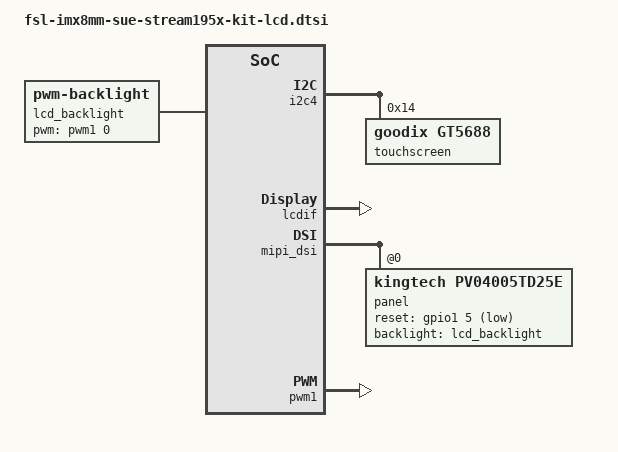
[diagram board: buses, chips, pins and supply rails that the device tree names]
/ {
	lcd_backlight: lcd_backlight {
		compatible = "pwm-backlight";
		pwms = <&pwm1 0 5000000 0>;

		/*
		 * Values taken from `imx7d-sue-streamkitprime-common-0.dtsi`.
		 */
		brightness-levels = <0 3 5 8 10 13 15 18 20 23 26 28 31 33 36 38 41 43 46 48 51 54 56 59 61 64 66 69 71 74
			77 79 82 84 87 89 92 94 97 99 102 105 107 110 112 115 117 120 122 125 127 130 133 135 138 140 143 145 148 150
			153 156 158 161 163 166 168 171 173 176 179 181 184 186 189 191 194 196 199 201 204 207 209 212 214 217 219 222 224 227
			229 232 235 237 240 242 245 247 250 252 255>;
		default-brightness-level = <100>;
		status = "okay";
	};
};

&i2c4 {
	touchscreen: gt5688@14 {
		compatible = "goodix,gt5688";
		reg = <0x14>;
		status = "okay";
	};
};

&iomuxc {
	imx8mm-s195x-kit-lcd {
		pinctrl_pwm1: pwm1grp {
			fsl,pins = <
				MX8MM_IOMUXC_GPIO1_IO01_PWM1_OUT		(PAD_CTL_PE_DOWN | PAD_CTL_HYS | PAD_CTL_FAST | PAD_CTL_DSE4x)
			>;
		};
	};
};

&lcdif {
	status = "okay";
	/*
	 * This is only used to override the first value which is the
	 * IMX8MM_CLK_LCDIF_PIXEL_SRC rate. It should match the MIPI
	 * clk because the MIPI clk should be a multiple (=bpp/mipi_lanes)
	 * of the pixel clock.
	 * The LCDIF will derive the pixelclock form this.
	 */
	assigned-clock-rate = <240000000>, <500000000>, <200000000>;
};

&mipi_dsi {
	status = "okay";
	/*
	 * This is the MIPI clk which is the (pixel_clock * bpp / mipi_lanes) / 10000.
	 * NOTE: To be able to set this rate, a table entry is required
	 * in the `imx8mm_videopll_tbl` array inside `clk-imx8mm.c`.
	 * To get all the apropriate values, the `Video-PLL-Calculation.ods`
	 * file from shared can be used.
	 */
	pref-rate = <24000>;

	/*
	 * Append IMX8MM_VIDEO_PLL1 and set it (as well as the DSI PHY clock)
	 * to match the `pref-rate`
	 */
	assigned-clocks = <&clk IMX8MM_CLK_DSI_CORE>,
			  <&clk IMX8MM_CLK_DSI_PHY_REF>,
			  <&clk IMX8MM_VIDEO_PLL1>;
	assigned-clock-rates = <266000000>, <240000000>, <240000000>;

	panel@0 {
		compatible = "kingtech,pv04005td25e";
		reg = <0>;
		backlight = <&lcd_backlight>;
		reset-gpios = <&gpio1 5 GPIO_ACTIVE_LOW>;
	};
};

&pwm1 {
	pinctrl-names = "default";
	pinctrl-0 = <&pinctrl_pwm1>;
	status = "okay";
};
